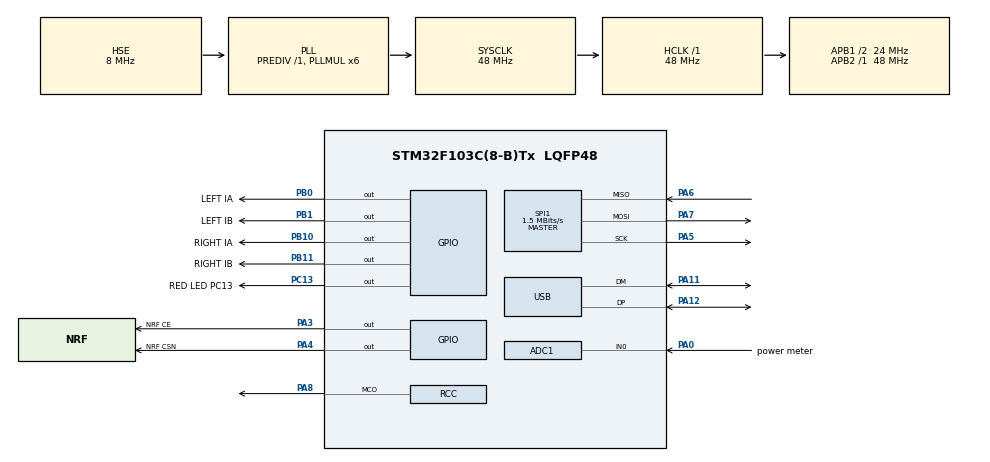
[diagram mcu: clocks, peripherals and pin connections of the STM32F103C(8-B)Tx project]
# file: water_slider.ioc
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ADC1.Channel-0\#ChannelRegularConversion=ADC_CHANNEL_0
ADC1.ContinuousConvMode=DISABLE
ADC1.DataAlign=ADC_DATAALIGN_RIGHT
ADC1.DiscontinuousConvMode=DISABLE
ADC1.EnableAnalogWatchDog=false
ADC1.EnableRegularConversion=ENABLE
ADC1.ExternalTrigConv=ADC_SOFTWARE_START
ADC1.InjNumberOfConversion=0
ADC1.NbrOfConversion=1
ADC1.NbrOfConversionFlag=1
ADC1.Rank-0\#ChannelRegularConversion=1
ADC1.SamplingTime-0\#ChannelRegularConversion=ADC_SAMPLETIME_1CYCLE_5
ADC1.ScanConvMode=ADC_SCAN_DISABLE
ADC1.master=1
Mcu.Family=STM32F1
Mcu.Name=STM32F103C(8-B)Tx
Mcu.Package=LQFP48
NVIC.PriorityGroup=NVIC_PRIORITYGROUP_4
NVIC.USB_LP_CAN1_RX0_IRQn=true\:7\:0\:true\:false\:true\:false
PA0-WKUP.GPIO_Label=power meter
PA0-WKUP.Signal=ADCx_IN0
PA11.Mode=Device
PA11.Signal=USB_DM
PA12.Mode=Device
PA12.Signal=USB_DP
PA13.Mode=Serial_Wire
PA13.Signal=SYS_JTMS-SWDIO
PA14.Mode=Serial_Wire
PA14.Signal=SYS_JTCK-SWCLK
PA3.GPIO_Label=NRF CE
PA3.GPIO_Speed=GPIO_SPEED_FREQ_HIGH
PA3.Signal=GPIO_Output
PA4.GPIO_Label=NRF CSN
PA4.GPIO_Speed=GPIO_SPEED_FREQ_HIGH
PA4.Signal=GPIO_Output
PA5.Mode=Full_Duplex_Master
PA5.Signal=SPI1_SCK
PA6.Mode=Full_Duplex_Master
PA6.Signal=SPI1_MISO
PA7.Mode=Full_Duplex_Master
PA7.Signal=SPI1_MOSI
PA8.Mode=Clock-out
PA8.Signal=RCC_MCO
PB0.GPIO_Label=LEFT IA
PB0.Signal=GPIO_Output
PB1.GPIO_Label=LEFT IB
PB1.Signal=GPIO_Output
PB10.GPIO_Label=RIGHT IA
PB10.Signal=GPIO_Output
PB11.GPIO_Label=RIGHT IB
PB11.Signal=GPIO_Output
PC13-TAMPER-RTC.GPIO_Label=RED LED PC13
PC13-TAMPER-RTC.Signal=GPIO_Output
PD0-OSC_IN.Mode=HSE-External-Oscillator
PD0-OSC_IN.Signal=RCC_OSC_IN
PD1-OSC_OUT.Mode=HSE-External-Oscillator
PD1-OSC_OUT.Signal=RCC_OSC_OUT
ProjectManager.HeapSize=0x200
ProjectManager.StackSize=0x400
ProjectManager.TargetToolchain=SW4STM32
RCC.ADCPresc=RCC_ADCPCLK2_DIV8
RCC.AHBFreq_Value=48000000
RCC.APB1CLKDivider=RCC_HCLK_DIV2
RCC.APB1Freq_Value=24000000
RCC.APB1TimFreq_Value=48000000
RCC.APB2Freq_Value=48000000
RCC.APB2TimFreq_Value=48000000
RCC.HCLKFreq_Value=48000000
RCC.PLLMUL=RCC_PLL_MUL6
RCC.RCC_MCOSource=RCC_MCO1SOURCE_PLLCLK
RCC.SYSCLKFreq_VALUE=48000000
RCC.SYSCLKSource=RCC_SYSCLKSOURCE_PLLCLK
RCC.USBFreq_Value=48000000
SH.ADCx_IN0.0=ADC1_IN0,IN0
SPI1.BaudRatePrescaler=SPI_BAUDRATEPRESCALER_32
SPI1.CalculateBaudRate=1.5 MBits/s
SPI1.Direction=SPI_DIRECTION_2LINES
SPI1.Mode=SPI_MODE_MASTER
SPI1.VirtualType=VM_MASTER
USB_DEVICE.CLASS_NAME_FS=CDC
USB_DEVICE.VirtualMode=Cdc
USB_DEVICE.VirtualModeFS=Cdc_FS
VP_ADC1_Vref_Input.Mode=IN-Vrefint
VP_USB_DEVICE_VS_USB_DEVICE_CDC_FS.Mode=CDC_FS
board=water_slider

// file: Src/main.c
/**
  ******************************************************************************
  * @file           : main.c
  * @brief          : Main program body
  ******************************************************************************
  * This notice applies to any and all portions of this file
  * that are not between comment pairs USER CODE BEGIN and
  * USER CODE END. Other portions of this file, whether
  * inserted by the user or by software development tools
  * are owned by their respective copyright owners.
  *
  * Copyright (c) 2019 STMicroelectronics International N.V.
  * All rights reserved.
  *
  * Redistribution and use in source and binary forms, with or without
  * modification, are permitted, provided that the following conditions are met:
  *
  * 1. Redistribution of source code must retain the above copyright notice,
  *    this list of conditions and the following disclaimer.
  * 2. Redistributions in binary form must reproduce the above copyright notice,
  *    this list of conditions and the following disclaimer in the documentation
  *    and/or other materials provided with the distribution.
  * 3. Neither the name of STMicroelectronics nor the names of other
  *    contributors to this software may be used to endorse or promote products
  *    derived from this software without specific written permission.
  * 4. This software, including modifications and/or derivative works of this
  *    software, must execute solely and exclusively on microcontroller or
  *    microprocessor devices manufactured by or for STMicroelectronics.
  * 5. Redistribution and use of this software other than as permitted under
  *    this license is void and will automatically terminate your rights under
  *    this license.
  *
  * THIS SOFTWARE IS PROVIDED BY STMICROELECTRONICS AND CONTRIBUTORS "AS IS"
  * AND ANY EXPRESS, IMPLIED OR STATUTORY WARRANTIES, INCLUDING, BUT NOT
  * LIMITED TO, THE IMPLIED WARRANTIES OF MERCHANTABILITY, FITNESS FOR A
  * PARTICULAR PURPOSE AND NON-INFRINGEMENT OF THIRD PARTY INTELLECTUAL PROPERTY
  * RIGHTS ARE DISCLAIMED TO THE FULLEST EXTENT PERMITTED BY LAW. IN NO EVENT
  * SHALL STMICROELECTRONICS OR CONTRIBUTORS BE LIABLE FOR ANY DIRECT, INDIRECT,
  * INCIDENTAL, SPECIAL, EXEMPLARY, OR CONSEQUENTIAL DAMAGES (INCLUDING, BUT NOT
  * LIMITED TO, PROCUREMENT OF SUBSTITUTE GOODS OR SERVICES; LOSS OF USE, DATA,
  * OR PROFITS; OR BUSINESS INTERRUPTION) HOWEVER CAUSED AND ON ANY THEORY OF
  * LIABILITY, WHETHER IN CONTRACT, STRICT LIABILITY, OR TORT (INCLUDING
  * NEGLIGENCE OR OTHERWISE) ARISING IN ANY WAY OUT OF THE USE OF THIS SOFTWARE,
  * EVEN IF ADVISED OF THE POSSIBILITY OF SUCH DAMAGE.
  *
  ******************************************************************************
  */
#include "main.h"
#include "stm32f1xx_hal.h"
#include "usb_device.h"

/* USER CODE BEGIN Includes */

#include "tm2_stm32_nrf24l01.h"

/* USER CODE END Includes */

ADC_HandleTypeDef hadc1;

SPI_HandleTypeDef hspi1;

/* USER CODE BEGIN PV */
/* Private variables ---------------------------------------------------------*/

NRF24L01_config_TypeDef nrf_rx_cfg;

uint16_t mili_seconds;
uint8_t  one_second_flag;

//uint16_t PomiarADC;

/* USER CODE END PV */

void SystemClock_Config(void);
static void MX_GPIO_Init(void);
static void MX_SPI1_Init(void);
static void MX_ADC1_Init(void);

/* USER CODE BEGIN PFP */
/* Private function prototypes -----------------------------------------------*/

void usb_receive_interrupt( uint8_t );
void usb_receive_bytes( uint8_t* Buf, uint32_t *Len );
int adc_read( uint32_t );
void send_int_via_usb( uint16_t, uint16_t );
void SysTick_Interrupt( void );

/* USER CODE END PFP */

/* USER CODE BEGIN 0 */

//int __io_putchar(int ch)
//{
// if (ch == '\n')
// send_char('\r');
// send_char(ch);
// return ch;
//}

/* USER CODE END 0 */

int main(void)
{
  /* USER CODE BEGIN 1 */

  // for received data
  uint8_t dataIn[32];
  uint8_t led_idn;
  uint8_t engine_left;
  uint8_t engine_right;
  uint8_t one_second_counter = 0;
  uint16_t batery_level;
  //uint16_t vref_level;

  // NRF transmission status
  TM_NRF24L01_Transmit_Status_t transmissionStatus;

  /* USER CODE END 1 */

  /* MCU Configuration----------------------------------------------------------*/

  /* Reset of all peripherals, Initializes the Flash interface and the Systick. */
  HAL_Init();

  /* USER CODE BEGIN Init */

  mili_seconds    = 0;
  one_second_flag = 0;

  /* USER CODE END Init */

  /* Configure the system clock */
  SystemClock_Config();

  /* Initialize all configured peripherals */
  MX_GPIO_Init();
  MX_SPI1_Init();
  MX_USB_DEVICE_Init();
  MX_ADC1_Init();
  /* USER CODE BEGIN 2 */

  // turn OFF LED
  HAL_GPIO_WritePin( RED_LED_PC13_GPIO_Port, RED_LED_PC13_Pin, GPIO_PIN_SET );

  // stop engines
  HAL_GPIO_WritePin( LEFT_IA_GPIO_Port,  LEFT_IA_Pin,  GPIO_PIN_SET );
  HAL_GPIO_WritePin( LEFT_IB_GPIO_Port,  LEFT_IB_Pin,  GPIO_PIN_SET );
  HAL_GPIO_WritePin( RIGHT_IA_GPIO_Port, RIGHT_IA_Pin, GPIO_PIN_SET );
  HAL_GPIO_WritePin( RIGHT_IB_GPIO_Port, RIGHT_IB_Pin, GPIO_PIN_SET );

  __HAL_RCC_ADC1_CLK_ENABLE();
  HAL_ADCEx_Calibration_Start( &hadc1 );
  HAL_ADC_Start( &hadc1 );

  nrf_rx_cfg.CE_pin          = NRF_CE_Pin;
  nrf_rx_cfg.CE_port         = NRF_CE_GPIO_Port;
  nrf_rx_cfg.CSN_pin         = NRF_CSN_Pin;
  nrf_rx_cfg.CSN_port        = NRF_CSN_GPIO_Port;
  nrf_rx_cfg.SPI             = &hspi1;
  nrf_rx_cfg.radio_channel   = 15;
  nrf_rx_cfg.baud_rate       = TM_NRF24L01_DataRate_1M;
  nrf_rx_cfg.payload_len     = 32;
  nrf_rx_cfg.crc_len         = 2;
  nrf_rx_cfg.output_power    = TM_NRF24L01_OutputPower_0dBm;
  nrf_rx_cfg.rx_address[ 0 ] = 0x7E;
  nrf_rx_cfg.rx_address[ 1 ] = 0x7E;
  nrf_rx_cfg.rx_address[ 2 ] = 0x7E;
  nrf_rx_cfg.rx_address[ 3 ] = 0x7E;
  nrf_rx_cfg.rx_address[ 4 ] = 0x7E;
  nrf_rx_cfg.tx_address[ 0 ] = 0xE7;
  nrf_rx_cfg.tx_address[ 1 ] = 0xE7;
  nrf_rx_cfg.tx_address[ 2 ] = 0xE7;
  nrf_rx_cfg.tx_address[ 3 ] = 0xE7;
  nrf_rx_cfg.tx_address[ 4 ] = 0xE7;

  tm2_NRF24L01_Init( &nrf_rx_cfg );
  HAL_Delay( 2000 );
  tm2_NRF24L01_Clear_Interrupts( &nrf_rx_cfg );
  HAL_Delay( 100 );

  /* USER CODE END 2 */

  /* Infinite loop */
  /* USER CODE BEGIN WHILE */
  while (1)
  {
	  HAL_Delay( 50 );
	  HAL_GPIO_WritePin( RED_LED_PC13_GPIO_Port, RED_LED_PC13_Pin, GPIO_PIN_SET );
	  if( tm2_NRF24L01_DataReady( &nrf_rx_cfg )) {
		one_second_counter = 0;
		HAL_GPIO_WritePin( RED_LED_PC13_GPIO_Port, RED_LED_PC13_Pin, GPIO_PIN_RESET );
		/* Get data from NRF24L01+ */
		tm2_NRF24L01_GetData( &nrf_rx_cfg, dataIn );
		led_idn      = dataIn[ 0 ] & 0x01;
		engine_left  = (dataIn[ 0 ] >> 1) & 0x03;
		engine_right = (dataIn[ 0 ] >> 3) & 0x03;

		HAL_GPIO_WritePin( RED_LED_PC13_GPIO_Port, RED_LED_PC13_Pin, led_idn ? GPIO_PIN_RESET : GPIO_PIN_SET );

		switch( engine_left ) {
		  //forward
		  case 1 : HAL_GPIO_WritePin( LEFT_IA_GPIO_Port,  LEFT_IA_Pin,  GPIO_PIN_SET );
		           HAL_GPIO_WritePin( LEFT_IB_GPIO_Port,  LEFT_IB_Pin,  GPIO_PIN_RESET );
		           break;
		  //backward
		  case 2 : HAL_GPIO_WritePin( LEFT_IA_GPIO_Port,  LEFT_IA_Pin,  GPIO_PIN_RESET );
		           HAL_GPIO_WritePin( LEFT_IB_GPIO_Port,  LEFT_IB_Pin,  GPIO_PIN_SET );
		           break;
		  //stop
		  default : HAL_GPIO_WritePin( LEFT_IA_GPIO_Port,  LEFT_IA_Pin,  GPIO_PIN_SET );
		            HAL_GPIO_WritePin( LEFT_IB_GPIO_Port,  LEFT_IB_Pin,  GPIO_PIN_SET );
		            break;
		}

		switch( engine_right ) {
		  //forward
		  case 1 : HAL_GPIO_WritePin( RIGHT_IA_GPIO_Port,  RIGHT_IA_Pin,  GPIO_PIN_SET );
		           HAL_GPIO_WritePin( RIGHT_IB_GPIO_Port,  RIGHT_IB_Pin,  GPIO_PIN_RESET );
		           break;
		  //backward
		  case 2 : HAL_GPIO_WritePin( RIGHT_IA_GPIO_Port,  RIGHT_IA_Pin,  GPIO_PIN_RESET );
		           HAL_GPIO_WritePin( RIGHT_IB_GPIO_Port,  RIGHT_IB_Pin,  GPIO_PIN_SET );
		           break;
		  //stop
		  default : HAL_GPIO_WritePin( RIGHT_IA_GPIO_Port,  RIGHT_IA_Pin,  GPIO_PIN_SET );
		            HAL_GPIO_WritePin( RIGHT_IB_GPIO_Port,  RIGHT_IB_Pin,  GPIO_PIN_SET );
		            break;
		}

		tm2_NRF24L01_Transmit( &nrf_rx_cfg, dataIn );
		/* Wait for data to be sent */
		do {
		  /* Get transmission status */
		  transmissionStatus = tm2_NRF24L01_GetTransmissionStatus( &nrf_rx_cfg );
		} while( transmissionStatus == TM_NRF24L01_Transmit_Status_Sending );
		tm2_NRF24L01_PowerUpRx( &nrf_rx_cfg );
	  }
	  // no coveridge - no communication with pilot
	  else {
		  one_second_counter++;
		  if( one_second_counter > 20 ) {
			  one_second_counter = 0;
			  HAL_GPIO_WritePin( LEFT_IA_GPIO_Port,  LEFT_IA_Pin,  GPIO_PIN_SET );
			  HAL_GPIO_WritePin( LEFT_IB_GPIO_Port,  LEFT_IB_Pin,  GPIO_PIN_SET );
			  HAL_GPIO_WritePin( RIGHT_IA_GPIO_Port, RIGHT_IA_Pin, GPIO_PIN_SET );
			  HAL_GPIO_WritePin( RIGHT_IB_GPIO_Port, RIGHT_IB_Pin, GPIO_PIN_SET );
		  }
	  }
  /* USER CODE END WHILE */

  /* USER CODE BEGIN 3 */
	if( one_second_flag > 0 ) {
		if( HAL_ADC_PollForConversion( &hadc1, 1000 ) == HAL_OK ) {
			batery_level = HAL_ADC_GetValue( &hadc1 );
			send_int_via_usb( batery_level, 0 );
			HAL_ADC_Start( &hadc1 );
		}
		one_second_flag = 0;
		mili_seconds    = 0;
	}
//	  batery_level = adc_read( ADC_CHANNEL_0 ); //* 3.3f / 4096.0f * 3
//	  vref_level  = adc_read( ADC_CHANNEL_VREFINT ); //* 3.3f / 4096.0f
//	  send_int_via_usb( batery_level, vref_level );
  }
  /* USER CODE END 3 */

}

void SystemClock_Config(void)
{

  RCC_OscInitTypeDef RCC_OscInitStruct;
  RCC_ClkInitTypeDef RCC_ClkInitStruct;
  RCC_PeriphCLKInitTypeDef PeriphClkInit;

    /**Initializes the CPU, AHB and APB busses clocks
    */
  RCC_OscInitStruct.OscillatorType = RCC_OSCILLATORTYPE_HSE;
  RCC_OscInitStruct.HSEState = RCC_HSE_ON;
  RCC_OscInitStruct.HSEPredivValue = RCC_HSE_PREDIV_DIV1;
  RCC_OscInitStruct.HSIState = RCC_HSI_ON;
  RCC_OscInitStruct.PLL.PLLState = RCC_PLL_ON;
  RCC_OscInitStruct.PLL.PLLSource = RCC_PLLSOURCE_HSE;
  RCC_OscInitStruct.PLL.PLLMUL = RCC_PLL_MUL6;
  if (HAL_RCC_OscConfig(&RCC_OscInitStruct) != HAL_OK)
  {
    _Error_Handler(__FILE__, __LINE__);
  }

    /**Initializes the CPU, AHB and APB busses clocks
    */
  RCC_ClkInitStruct.ClockType = RCC_CLOCKTYPE_HCLK|RCC_CLOCKTYPE_SYSCLK
                              |RCC_CLOCKTYPE_PCLK1|RCC_CLOCKTYPE_PCLK2;
  RCC_ClkInitStruct.SYSCLKSource = RCC_SYSCLKSOURCE_PLLCLK;
  RCC_ClkInitStruct.AHBCLKDivider = RCC_SYSCLK_DIV1;
  RCC_ClkInitStruct.APB1CLKDivider = RCC_HCLK_DIV2;
  RCC_ClkInitStruct.APB2CLKDivider = RCC_HCLK_DIV1;

  if (HAL_RCC_ClockConfig(&RCC_ClkInitStruct, FLASH_LATENCY_1) != HAL_OK)
  {
    _Error_Handler(__FILE__, __LINE__);
  }

  PeriphClkInit.PeriphClockSelection = RCC_PERIPHCLK_ADC|RCC_PERIPHCLK_USB;
  PeriphClkInit.AdcClockSelection = RCC_ADCPCLK2_DIV8;
  PeriphClkInit.UsbClockSelection = RCC_USBCLKSOURCE_PLL;
  if (HAL_RCCEx_PeriphCLKConfig(&PeriphClkInit) != HAL_OK)
  {
    _Error_Handler(__FILE__, __LINE__);
  }

  HAL_RCC_MCOConfig(RCC_MCO, RCC_MCO1SOURCE_PLLCLK, RCC_MCODIV_1);

    /**Configure the Systick interrupt time
    */
  HAL_SYSTICK_Config(HAL_RCC_GetHCLKFreq()/1000);

    /**Configure the Systick
    */
  HAL_SYSTICK_CLKSourceConfig(SYSTICK_CLKSOURCE_HCLK);

  /* SysTick_IRQn interrupt configuration */
  HAL_NVIC_SetPriority(SysTick_IRQn, 0, 0);
}

/* ADC1 init function */
static void MX_ADC1_Init(void)
{

  ADC_ChannelConfTypeDef sConfig;

    /**Common config
    */
  hadc1.Instance = ADC1;
  hadc1.Init.ScanConvMode = ADC_SCAN_DISABLE;
  hadc1.Init.ContinuousConvMode = DISABLE;
  hadc1.Init.DiscontinuousConvMode = DISABLE;
  hadc1.Init.ExternalTrigConv = ADC_SOFTWARE_START;
  hadc1.Init.DataAlign = ADC_DATAALIGN_RIGHT;
  hadc1.Init.NbrOfConversion = 1;
  if (HAL_ADC_Init(&hadc1) != HAL_OK)
  {
    _Error_Handler(__FILE__, __LINE__);
  }

    /**Configure Regular Channel
    */
  sConfig.Channel = ADC_CHANNEL_0;
  sConfig.Rank = ADC_REGULAR_RANK_1;
  sConfig.SamplingTime = ADC_SAMPLETIME_1CYCLE_5;
  if (HAL_ADC_ConfigChannel(&hadc1, &sConfig) != HAL_OK)
  {
    _Error_Handler(__FILE__, __LINE__);
  }

}

/* SPI1 init function */
static void MX_SPI1_Init(void)
{

  /* SPI1 parameter configuration*/
  hspi1.Instance = SPI1;
  hspi1.Init.Mode = SPI_MODE_MASTER;
  hspi1.Init.Direction = SPI_DIRECTION_2LINES;
  hspi1.Init.DataSize = SPI_DATASIZE_8BIT;
  hspi1.Init.CLKPolarity = SPI_POLARITY_LOW;
  hspi1.Init.CLKPhase = SPI_PHASE_1EDGE;
  hspi1.Init.NSS = SPI_NSS_SOFT;
  hspi1.Init.BaudRatePrescaler = SPI_BAUDRATEPRESCALER_32;
  hspi1.Init.FirstBit = SPI_FIRSTBIT_MSB;
  hspi1.Init.TIMode = SPI_TIMODE_DISABLE;
  hspi1.Init.CRCCalculation = SPI_CRCCALCULATION_DISABLE;
  hspi1.Init.CRCPolynomial = 10;
  if (HAL_SPI_Init(&hspi1) != HAL_OK)
  {
    _Error_Handler(__FILE__, __LINE__);
  }

}

/** Configure pins as
        * Analog
        * Input
        * Output
        * EVENT_OUT
        * EXTI
     PA8   ------> RCC_MCO
*/
static void MX_GPIO_Init(void)
{

  GPIO_InitTypeDef GPIO_InitStruct;

  /* GPIO Ports Clock Enable */
  __HAL_RCC_GPIOC_CLK_ENABLE();
  __HAL_RCC_GPIOD_CLK_ENABLE();
  __HAL_RCC_GPIOA_CLK_ENABLE();
  __HAL_RCC_GPIOB_CLK_ENABLE();

  /*Configure GPIO pin Output Level */
  HAL_GPIO_WritePin(RED_LED_PC13_GPIO_Port, RED_LED_PC13_Pin, GPIO_PIN_RESET);

  /*Configure GPIO pin Output Level */
  HAL_GPIO_WritePin(GPIOA, NRF_CE_Pin|NRF_CSN_Pin, GPIO_PIN_RESET);

  /*Configure GPIO pin Output Level */
  HAL_GPIO_WritePin(GPIOB, LEFT_IA_Pin|LEFT_IB_Pin|RIGHT_IA_Pin|RIGHT_IB_Pin, GPIO_PIN_RESET);

  /*Configure GPIO pin : RED_LED_PC13_Pin */
  GPIO_InitStruct.Pin = RED_LED_PC13_Pin;
  GPIO_InitStruct.Mode = GPIO_MODE_OUTPUT_PP;
  GPIO_InitStruct.Speed = GPIO_SPEED_FREQ_LOW;
  HAL_GPIO_Init(RED_LED_PC13_GPIO_Port, &GPIO_InitStruct);

  /*Configure GPIO pins : NRF_CE_Pin NRF_CSN_Pin */
  GPIO_InitStruct.Pin = NRF_CE_Pin|NRF_CSN_Pin;
  GPIO_InitStruct.Mode = GPIO_MODE_OUTPUT_PP;
  GPIO_InitStruct.Speed = GPIO_SPEED_FREQ_HIGH;
  HAL_GPIO_Init(GPIOA, &GPIO_InitStruct);

  /*Configure GPIO pins : LEFT_IA_Pin LEFT_IB_Pin RIGHT_IA_Pin RIGHT_IB_Pin */
  GPIO_InitStruct.Pin = LEFT_IA_Pin|LEFT_IB_Pin|RIGHT_IA_Pin|RIGHT_IB_Pin;
  GPIO_InitStruct.Mode = GPIO_MODE_OUTPUT_PP;
  GPIO_InitStruct.Speed = GPIO_SPEED_FREQ_LOW;
  HAL_GPIO_Init(GPIOB, &GPIO_InitStruct);

  /*Configure GPIO pin : PA8 */
  GPIO_InitStruct.Pin = GPIO_PIN_8;
  GPIO_InitStruct.Mode = GPIO_MODE_AF_PP;
  GPIO_InitStruct.Speed = GPIO_SPEED_FREQ_LOW;
  HAL_GPIO_Init(GPIOA, &GPIO_InitStruct);

}

/* USER CODE BEGIN 4 */

void usb_receive_interrupt( uint8_t received_byte ) {
	switch( received_byte ) {
	  case 'V' : HAL_GPIO_WritePin( RED_LED_PC13_GPIO_Port, RED_LED_PC13_Pin, GPIO_PIN_RESET );
	             break;
	  case 'v' : HAL_GPIO_WritePin( RED_LED_PC13_GPIO_Port, RED_LED_PC13_Pin, GPIO_PIN_SET );
	             break;
	  case 'L' : HAL_GPIO_WritePin( LEFT_IA_GPIO_Port,  LEFT_IA_Pin,  GPIO_PIN_SET );
	  		     HAL_GPIO_WritePin( LEFT_IB_GPIO_Port,  LEFT_IB_Pin,  GPIO_PIN_RESET );
	             break;
	  case 'K' : HAL_GPIO_WritePin( LEFT_IA_GPIO_Port,  LEFT_IA_Pin,  GPIO_PIN_RESET );
	  		     HAL_GPIO_WritePin( LEFT_IB_GPIO_Port,  LEFT_IB_Pin,  GPIO_PIN_SET );
	             break;
	  case 'l' : HAL_GPIO_WritePin( LEFT_IA_GPIO_Port,  LEFT_IA_Pin,  GPIO_PIN_SET );
	  		     HAL_GPIO_WritePin( LEFT_IB_GPIO_Port,  LEFT_IB_Pin,  GPIO_PIN_SET );
	             break;
	  case 'R' : HAL_GPIO_WritePin( RIGHT_IA_GPIO_Port,  RIGHT_IA_Pin,  GPIO_PIN_RESET );
                 HAL_GPIO_WritePin( RIGHT_IB_GPIO_Port,  RIGHT_IB_Pin,  GPIO_PIN_SET );
	             break;
	  case 'E' : HAL_GPIO_WritePin( RIGHT_IA_GPIO_Port,  RIGHT_IA_Pin,  GPIO_PIN_SET );
                 HAL_GPIO_WritePin( RIGHT_IB_GPIO_Port,  RIGHT_IB_Pin,  GPIO_PIN_RESET );
	             break;
	  case 'r' : HAL_GPIO_WritePin( RIGHT_IA_GPIO_Port,  RIGHT_IA_Pin,  GPIO_PIN_SET );
                 HAL_GPIO_WritePin( RIGHT_IB_GPIO_Port,  RIGHT_IB_Pin,  GPIO_PIN_SET );
	             break;
	  case 's' :
	  case 'S' : HAL_GPIO_WritePin( LEFT_IA_GPIO_Port,  LEFT_IA_Pin,  GPIO_PIN_SET );
	             HAL_GPIO_WritePin( LEFT_IB_GPIO_Port,  LEFT_IB_Pin,  GPIO_PIN_SET );
	             HAL_GPIO_WritePin( RIGHT_IA_GPIO_Port,  RIGHT_IA_Pin,  GPIO_PIN_SET );
                 HAL_GPIO_WritePin( RIGHT_IB_GPIO_Port,  RIGHT_IB_Pin,  GPIO_PIN_SET );
	             break;
	}
}

void usb_receive_bytes( uint8_t* Buf, uint32_t *Len ) {
	switch (Buf[0]) {
	case 'V':
		HAL_GPIO_WritePin( RED_LED_PC13_GPIO_Port, RED_LED_PC13_Pin, GPIO_PIN_RESET);
		break;
	case 'v':
		HAL_GPIO_WritePin( RED_LED_PC13_GPIO_Port, RED_LED_PC13_Pin, GPIO_PIN_SET);
		break;
	case 'L':
		HAL_GPIO_WritePin( LEFT_IA_GPIO_Port, LEFT_IA_Pin, GPIO_PIN_SET);
		HAL_GPIO_WritePin( LEFT_IB_GPIO_Port, LEFT_IB_Pin, GPIO_PIN_RESET);
		break;
	case 'K':
		HAL_GPIO_WritePin( LEFT_IA_GPIO_Port, LEFT_IA_Pin, GPIO_PIN_RESET);
		HAL_GPIO_WritePin( LEFT_IB_GPIO_Port, LEFT_IB_Pin, GPIO_PIN_SET);
		break;
	case 'l':
		HAL_GPIO_WritePin( LEFT_IA_GPIO_Port, LEFT_IA_Pin, GPIO_PIN_SET);
		HAL_GPIO_WritePin( LEFT_IB_GPIO_Port, LEFT_IB_Pin, GPIO_PIN_SET);
		break;
	case 'R':
		HAL_GPIO_WritePin( RIGHT_IA_GPIO_Port, RIGHT_IA_Pin, GPIO_PIN_RESET);
		HAL_GPIO_WritePin( RIGHT_IB_GPIO_Port, RIGHT_IB_Pin, GPIO_PIN_SET);
		break;
	case 'E':
		HAL_GPIO_WritePin( RIGHT_IA_GPIO_Port, RIGHT_IA_Pin, GPIO_PIN_SET);
		HAL_GPIO_WritePin( RIGHT_IB_GPIO_Port, RIGHT_IB_Pin, GPIO_PIN_RESET);
		break;
	case 'r':
		HAL_GPIO_WritePin( RIGHT_IA_GPIO_Port, RIGHT_IA_Pin, GPIO_PIN_SET);
		HAL_GPIO_WritePin( RIGHT_IB_GPIO_Port, RIGHT_IB_Pin, GPIO_PIN_SET);
		break;
	case 's':
	case 'S':
		HAL_GPIO_WritePin( LEFT_IA_GPIO_Port, LEFT_IA_Pin, GPIO_PIN_SET);
		HAL_GPIO_WritePin( LEFT_IB_GPIO_Port, LEFT_IB_Pin, GPIO_PIN_SET);
		HAL_GPIO_WritePin( RIGHT_IA_GPIO_Port, RIGHT_IA_Pin, GPIO_PIN_SET);
		HAL_GPIO_WritePin( RIGHT_IB_GPIO_Port, RIGHT_IB_Pin, GPIO_PIN_SET);
		break;
	}
}

int adc_read( uint32_t channel )
{
  ADC_ChannelConfTypeDef adc_ch;

  adc_ch.Channel = channel;
  adc_ch.Rank = ADC_REGULAR_RANK_1;
  adc_ch.SamplingTime = ADC_SAMPLETIME_239CYCLES_5; //ADC_SAMPLETIME_13CYCLES_5; ADC_SAMPLETIME_1CYCLE_5;
  if (HAL_ADC_ConfigChannel(&hadc1, &adc_ch) != HAL_OK)
  {
    return -1;
  }

  HAL_ADC_Start( &hadc1 );
  HAL_ADC_PollForConversion( &hadc1, 1000 );
  if( HAL_ADC_PollForConversion( &hadc1, 1000 ) == HAL_OK ) {
    return HAL_ADC_GetValue( &hadc1 );
  }
  return -2;
}

void send_int_via_usb( uint16_t int_to_send1, uint16_t int_to_send2 )
{
	char _str[100];
	TM_NRF24L01_Transmit_Status_t transmissionStatus;

	sprintf( _str, "V %d %d\r\n", int_to_send1, int_to_send2 );
	CDC_Transmit_FS( _str, strlen( _str ));
	HAL_Delay( 1 );

  tm2_NRF24L01_Transmit( &nrf_rx_cfg, _str );
  /* Wait for data to be sent */
  do {
	/* Get transmission status */
	transmissionStatus = tm2_NRF24L01_GetTransmissionStatus( &nrf_rx_cfg );
  } while( transmissionStatus == TM_NRF24L01_Transmit_Status_Sending );
  tm2_NRF24L01_PowerUpRx( &nrf_rx_cfg );
}

void SysTick_Interrupt( void ) {
	mili_seconds++;
	if( mili_seconds >= 1000 ) {
		mili_seconds = 0;
		one_second_flag = 1;
	}
}

/* USER CODE END 4 */

void _Error_Handler(char *file, int line)
{
  while(1)
  {
  }
}

/************************ (C) COPYRIGHT STMicroelectronics *****END OF FILE****/
